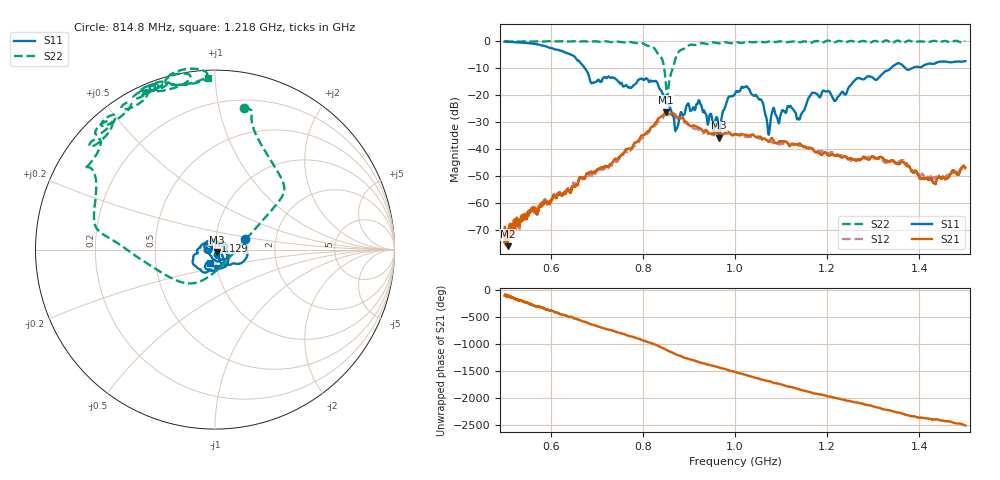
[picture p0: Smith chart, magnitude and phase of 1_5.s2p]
!Agilent Technologies,E8364B,US42250235,A.06.04.32
!Agilent E8364B: A.06.04.32
!Date: Thursday, October 01, 2020 16:04:45
!Correction: S11(Full 2 Port(1,2)) S21(Full 2 Port(1,2)) S12(Full 2 Port(1,2)) S22(Full 2 Port(1,2))
!S2P File: Measurements: S11, S21, S12, S22:
# Hz S  dB  R 50
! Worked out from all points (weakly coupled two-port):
!   2650 points, 500 MHz to 1.5 GHz, reference 50 ohm
!   highest |S21| = -26.42 dB at 849.6 MHz (marker M1); lowest = -75.9 dB at 507.2 MHz (marker M2)
!   lowest |S11| = -35.8 dB at 965.8 MHz (marker M3), VSWR 1.03, Z = 50.9 - j1.38 ohm
!   |S11| at or under -10 dB: 674 MHz to 1.338 GHz (664.2 MHz wide, 66 % of centre); 1.369 GHz to 1.385 GHz (16.05 MHz wide, 1.17 % of centre)
!   |S22| runs from -20.9 to 0.2 dB; largest |S21 - S12| = 0.0072
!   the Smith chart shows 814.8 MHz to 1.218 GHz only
!   S11 on the Smith chart (normalised r, x): 814.8 MHz: 1.39, +0.16; 1.129 GHz: 1.00, +0.10; 1.218 GHz: 0.94, -0.14
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5e8  -0.23 -175.3  -72.67 -101.3  -72.48 -86.0  -0.03 143.5
5.071725e8  -0.30 -179.1  -75.94 -111.5  -70.62 -117.4  -0.15 144.3
5.898452e8  -1.99 126.8  -59.86 1.3  -59.26 -1.3  -0.15 127.9
6.668554e8  -8.50 62.8  -50.72 150.1  -50.71 143.3  -0.11 124.8
6.910155e8  -15.46 70.5  -48.90 78.5  -49.89 74.1  -0.18 120.1
8.148358e8  -15.06 18.8  -32.73 108.5  -33.30 102.7  -1.86 78.5
8.337108e8  -16.58 -32.5  -28.67 44.6  -29.71 37.0  -4.91 54.0
8.495659e8  -22.84 -66.4  -26.42 -20.5  -27.15 -28.1  -15.01 17.9
8.722159e8  -32.51 174.5  -27.76 -113.6  -28.52 -117.3  -5.88 178.6
8.82031e8  -26.57 91.0  -28.66 -141.1  -29.41 -149.2  -3.37 169.0
9.216686e8  -21.90 -35.3  -32.11 106.0  -32.92 99.1  -1.06 136.3
9.658362e8  -35.79 -56.7  -33.93 2.6  -34.70 -3.4  -0.88 130.8
1.000189e9  -19.51 -85.9  -34.45 -78.8  -34.73 -84.6  -0.45 120.2
1.054926e9  -21.60 170.1  -35.41 147.9  -36.08 143.3  -0.29 115.3
1.072669e9  -34.56 167.6  -37.31 110.2  -36.93 102.8  -0.20 109.6
1.083239e9  -24.78 -171.8  -36.71 80.4  -37.96 79.1  -0.33 114.1
1.128917e9  -26.07 88.0  -38.11 -14.6  -38.49 -15.7  -0.18 111.4
1.166667e9  -19.33 -51.6  -39.76 -102.1  -39.95 -100.4  -0.56 100.9
1.218384e9  -22.05 -109.1  -42.41 159.7  -41.93 156.8  -0.38 92.4
1.333522e9  -10.75 -141.2  -44.65 -68.7  -45.02 -63.8  -0.11 98.1
1.432427e9  -8.40 167.8  -52.61 118.0  -50.63 116.3  0.07 77.7
1.5e9  -7.43 141.3  -46.84 8.3  -47.52 5.0  0.10 72.3
